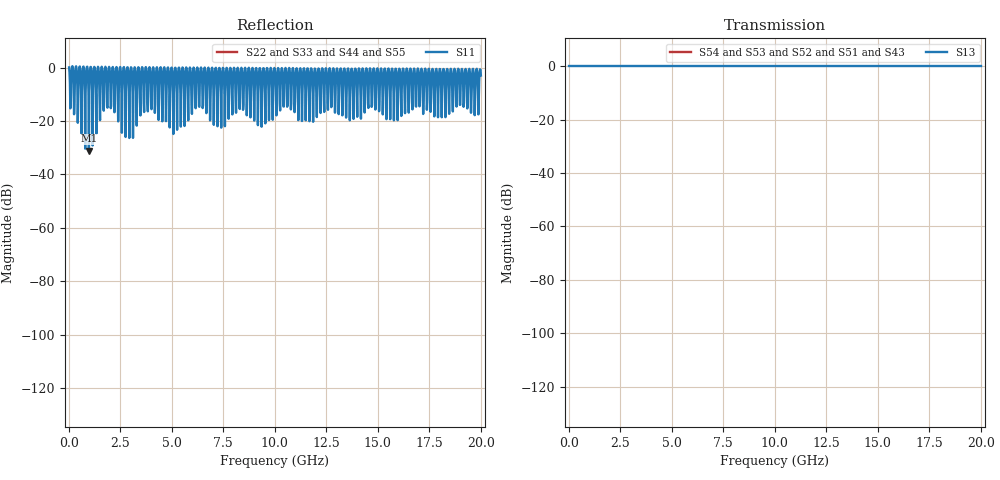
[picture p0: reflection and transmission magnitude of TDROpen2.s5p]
! File created by SignalIntegrity v1.3.3: Signal and Power Integrity Tools
! https://github.com/TeledyneLeCroy/SignalIntegrity
# MHz S MA R 50.0
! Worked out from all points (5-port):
!   1000 points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, 20 MHz to 20 GHz, reference 50 ohm
!   strongest paths, dB at 20 MHz, 5.02 GHz, 10.02 GHz, 15.02 GHz, 20 GHz:
!     S13: 0.0, 0.0, 0.0, 0.0, 0.0
!     S54: -, -, -, -, -
!     S53: -, -, -, -, -
!     S52: -, -, -, -, -
!     S51: -, -, -, -, -
!     S43: -, -, -, -, -
!   lowest |S11| = -31.1 dB at 980 MHz (marker M1), VSWR 1.06, Z = 52.7 + j0.852 ohm
!   |S11| at or under -10 dB: 69.12 MHz to 109.3 MHz (40.15 MHz wide, 45 % of centre); 246.5 MHz to 287.2 MHz (40.67 MHz wide, 15.2 % of centre); 424 MHz to 464.9 MHz (40.85 MHz wide, 9.19 % of centre) (the widest 3 of 112)
